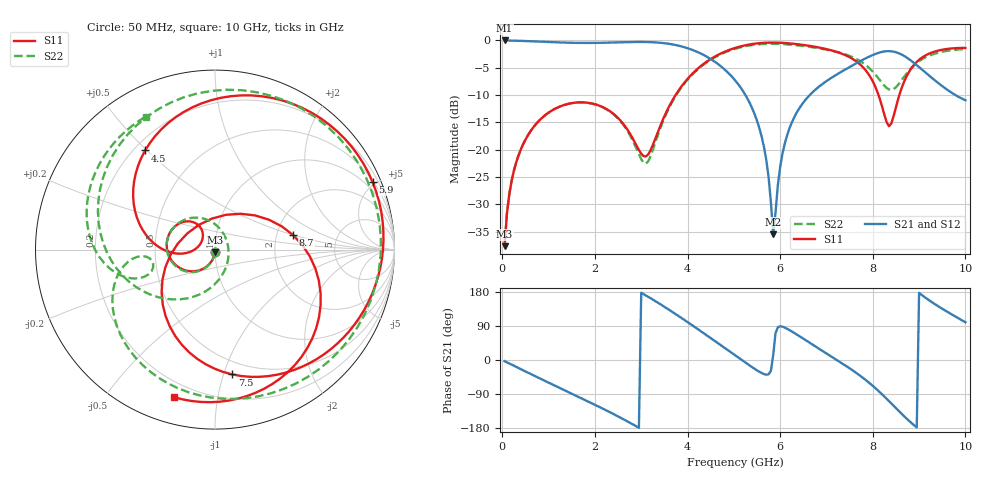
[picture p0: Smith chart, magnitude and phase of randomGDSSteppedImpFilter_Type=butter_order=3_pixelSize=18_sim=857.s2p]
! freq	dB(S11)	phase(S11)	dB(S12)	phase(S12)
!  dB(S21)	phase(S21)	dB(S22)	phase(S22)
!S-par simulation data
#  GHz  S  DB  R 50
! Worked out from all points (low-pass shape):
!   200 points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, 50 MHz to 10 GHz, reference 50 ohm
!   highest |S21| = -0.01 dB at 50 MHz (marker M1); lowest = -35.4 dB at 5.85 GHz (marker M2)
!   |S21| within 3 dB of the highest: start of sweep to 4.423 GHz; 7.911 GHz to 8.709 GHz (798.6 MHz wide, 9.61 % of centre)
!   lowest |S11| = -37.6 dB at 50 MHz (marker M3), VSWR 1.03, Z = 49.9 - j1.31 ohm
!   |S11| at or under -10 dB: start of sweep to 3.742 GHz; 8.124 GHz to 8.574 GHz (450 MHz wide, 5.39 % of centre)
!   |S22| runs from -37.6 to -0.6 dB; largest |S21 - S12| = 0
!   S11 on the Smith chart (normalised r, x): 50 MHz: 1.00, -0.03; 4.5 GHz: 0.24, +0.49; 5.9 GHz: 0.56, +4.83; 7.5 GHz: 0.39, -1.07; 8.7 GHz: 2.46, +0.50; 10 GHz: 0.12, -0.75
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0.05  -37.62 -92.6  -0.01 -3.1  -0.01 -3.1  -37.63 -92.5
0.2  -25.74 -102.5  -0.03 -12.2  -0.03 -12.2  -25.74 -102.0
0.5  -18.14 -121.3  -0.11 -30.2  -0.11 -30.2  -18.14 -120.0
1.15  -12.45 -160.2  -0.34 -68.5  -0.34 -68.5  -12.45 -157.9
1.75  -11.33 165.7  -0.46 -103.3  -0.46 -103.3  -11.34 166.7
2.7  -16.29 123.5  -0.31 -161.9  -0.31 -161.9  -16.51 94.0
3.1  -21.22 155.8  -0.29 170.5  -0.29 170.5  -22.52 3.6
3.4  -15.86 -173.2  -0.42 148.2  -0.42 148.2  -16.34 -76.5
3.95  -7.53 164.5  -1.29 104.3  -1.29 104.3  -7.68 -140.1
4.5  -3.40 125.1  -3.39 57.8  -3.39 57.8  -3.53 166.8
5.05  -1.32 84.0  -7.53 10.4  -7.53 10.4  -1.47 112.0
5.6  -0.47 44.0  -17.57 -34.4  -17.57 -34.4  -0.67 53.2
5.85  -0.39 26.5  -35.45 13.0  -35.45 13.0  -0.61 25.5
5.9  -0.40 23.1  -31.50 71.0  -31.50 71.0  -0.62 20.0
6.15  -0.50 6.5  -17.36 82.5  -17.36 82.5  -0.72 -7.4
6.7  -1.09 -28.3  -9.47 40.8  -9.47 40.8  -1.26 -63.9
7.5  -3.07 -82.1  -4.86 -21.8  -4.86 -21.8  -2.83 -134.3
8  -7.48 -133.6  -2.66 -68.2  -2.66 -68.2  -5.71 -169.7
8.35  -15.68 123.0  -1.96 -108.5  -1.96 -108.5  -8.96 -169.9
8.7  -7.09 10.7  -2.95 -151.1  -2.95 -151.1  -6.39 -160.3
9.15  -2.69 -42.4  -5.95 163.4  -5.95 163.4  -3.05 173.5
10  -1.38 -105.7  -10.94 99.5  -10.94 99.5  -1.56 117.5
